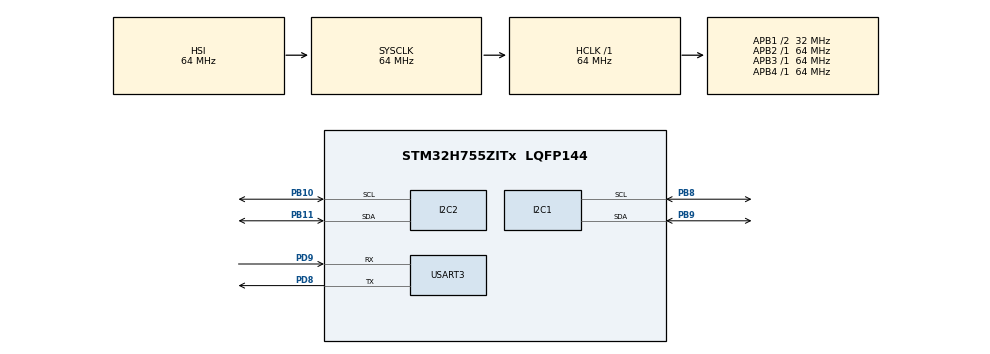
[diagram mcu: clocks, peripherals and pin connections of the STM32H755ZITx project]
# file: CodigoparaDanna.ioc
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CORTEX_M7.default_mode_Activation=1
CortexM4.IPs=CORTEX_M4\:I,FATFS_M4\:I,FREERTOS_M4\:I,IWDG2\:I,OPENAMP_M4\:I,PDM2PCM_M4\:I,PWR,RCC,RESMGR_UTILITY,SYS_M4\:I,USB_DEVICE_M4\:I,USB_HOST_M4\:I,VREFBUF,WWDG2\:I,GPIO,DMA,BDMA,MDMA,NVIC2\:I
CortexM7.IPs=CORTEX_M7\:I,FATFS_M7\:I,FREERTOS_M7\:I,IWDG1\:I,OPENAMP_M7\:I,PDM2PCM_M7\:I,PWR\:I,RCC\:I,RESMGR_UTILITY\:I,SYS\:I,USB_DEVICE_M7\:I,USB_HOST_M7\:I,VREFBUF\:I,WWDG1\:I,GPIO\:I,DMA\:I,BDMA\:I,MDMA\:I,NVIC1\:I,I2C2\:I,USART3\:I,I2C1\:I
I2C1.Timing=0x00707CBB
I2C2.Timing=0x00707CBB
Mcu.Family=STM32H7
Mcu.Name=STM32H755ZITx
Mcu.Package=LQFP144
NVIC1.PriorityGroup=NVIC_PRIORITYGROUP_4
NVIC2.PriorityGroup=NVIC_PRIORITYGROUP_4
PB10.Mode=I2C
PB10.PinAttribute=CortexM7
PB10.Signal=I2C2_SCL
PB11.Mode=I2C
PB11.PinAttribute=CortexM7
PB11.Signal=I2C2_SDA
PB8.Mode=I2C
PB8.PinAttribute=CortexM7
PB8.Signal=I2C1_SCL
PB9.Mode=I2C
PB9.PinAttribute=CortexM7
PB9.Signal=I2C1_SDA
PD8.Mode=Asynchronous
PD8.PinAttribute=CortexM7
PD8.Signal=USART3_TX
PD9.Mode=Asynchronous
PD9.PinAttribute=CortexM7
PD9.Signal=USART3_RX
ProjectManager.HeapSize=M4-0x200,M7-0x200
ProjectManager.StackSize=M4-0x400,M7-0x400
ProjectManager.TargetToolchain=STM32CubeIDE
RCC.ADCFreq_Value=129000000
RCC.APB1Freq_Value=32000000
RCC.APB2Freq_Value=64000000
RCC.APB3Freq_Value=64000000
RCC.APB4Freq_Value=64000000
RCC.CortexFreq_Value=64000000
RCC.D2PPRE1=RCC_APB1_DIV2
RCC.HCLKFreq_Value=64000000
RCC.SYSCLKFreq_VALUE=64000000
RCC.USBFreq_Value=129000000
SYS.userName=SYS_M7
USART3.VirtualMode-Asynchronous=VM_ASYNC
VP_SYS_M4_VS_Systick.Mode=SysTick
board=custom

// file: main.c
/* USER CODE BEGIN Header */
/**
  ******************************************************************************
  * @file           : main.c
  * @brief          : Main program body
  ******************************************************************************
  * @attention
  *
  * Copyright (c) 2026 STMicroelectronics.
  * All rights reserved.
  *
  * This software is licensed under terms that can be found in the LICENSE file
  * in the root directory of this software component.
  * If no LICENSE file comes with this software, it is provided AS-IS.
  *
  ******************************************************************************
  */
/* USER CODE END Header */
#include "main.h"

/* USER CODE BEGIN Includes */
#include <stdio.h>
#include <string.h>
/* USER CODE END Includes */

/* USER CODE BEGIN PD */

/* DUAL_CORE_BOOT_SYNC_SEQUENCE: Define for dual core boot synchronization    */
/*                             demonstration code based on hardware semaphore */
/* This define is present in both CM7/CM4 projects                            */
/* To comment when developping/debugging on a single core                     */
#define DUAL_CORE_BOOT_SYNC_SEQUENCE

#if defined(DUAL_CORE_BOOT_SYNC_SEQUENCE)
#ifndef HSEM_ID_0
#define HSEM_ID_0 (0U) /* HW semaphore 0*/
#endif
#endif /* DUAL_CORE_BOOT_SYNC_SEQUENCE */
#define MAX30102_ADDR      (0x57 << 1)   // 0xAE: HAL pide dirección de 8 bits
#define REG_INT_STATUS_1   0x00
#define REG_FIFO_WR_PTR    0x04
#define REG_OVF_COUNTER    0x05
#define REG_FIFO_RD_PTR    0x06
#define REG_FIFO_DATA      0x07
#define REG_FIFO_CONFIG    0x08
#define REG_MODE_CONFIG    0x09
#define REG_SPO2_CONFIG    0x0A
#define REG_LED1_PA        0x0C   // LED rojo
#define REG_LED2_PA        0x0D   // LED infrarrojo
#define REG_PART_ID        0xFF
#define FS_HZ              25     // 100 muestras/s / promedio de 4
#define FINGER_THR         70000  // empírico: sin dedo ~40-51k, con dedo ~110k
#define REFRACT_SMP        8      // 8 muestras = 320 ms → máximo ~187 BPM
#define N_AVG              5      // intervalos para media recortada
#define PRINT_EVERY        25     // 25 muestras = 1 s entre impresiones
#define SETTLE_SMP         (2 * FS_HZ)   // 2 s de asentamiento tras poner dedo
#define STALE_SMP          (2 * FS_HZ)   // 2 s sin latido = señal débil
#define MLX_ADDR           (0x5A << 1)   // 0xB4
#define MLX_REG_TA         0x06          // temperatura ambiente
#define MLX_REG_TOBJ1      0x07          // temperatura de objeto
#define N_SPO2             5

/* USER CODE END PD */

I2C_HandleTypeDef hi2c1;
I2C_HandleTypeDef hi2c2;

UART_HandleTypeDef huart3;

/* USER CODE BEGIN PV */
float    dc = 0, ac = 0;
float    prev1 = 0, prev2 = 0;
float    env = 0;
uint32_t sample_idx = 0, last_peak = 0;
uint32_t intervals[N_AVG];
uint8_t  int_pos = 0, int_cnt = 0;
uint32_t finger_smp = 0;
uint8_t  beat_flag = 0;                 // 1 = hr_process detectó pico
uint32_t r_min, r_max, i_min, i_max;    // extremos en ventana de latido
float    r_sum = 0, i_sum = 0;          // sumas para DC
uint32_t w_cnt = 0;                     // muestras en ventana
float    ratios[N_SPO2];
uint8_t  rat_pos = 0, rat_cnt = 0;

/* USER CODE END PV */

void SystemClock_Config(void);
static void MPU_Config(void);
static void MX_GPIO_Init(void);
static void MX_I2C2_Init(void);
static void MX_USART3_UART_Init(void);
static void MX_I2C1_Init(void);

/* USER CODE BEGIN 0 */
void uart_print(const char *msg) {
    HAL_UART_Transmit(&huart3, (uint8_t*)msg, strlen(msg), 100);
}

HAL_StatusTypeDef max_write(uint8_t reg, uint8_t val) {
    return HAL_I2C_Mem_Write(&hi2c2, MAX30102_ADDR, reg,
                             I2C_MEMADD_SIZE_8BIT, &val, 1, 100);
}

HAL_StatusTypeDef max_read(uint8_t reg, uint8_t *val) {
    return HAL_I2C_Mem_Read(&hi2c2, MAX30102_ADDR, reg,
                            I2C_MEMADD_SIZE_8BIT, val, 1, 100);
}

HAL_StatusTypeDef max_init(void) {
    uint8_t v;
    uint32_t t0;

    // 1. Reset por software y espera a que termine
    if (max_write(REG_MODE_CONFIG, 0x40) != HAL_OK) return HAL_ERROR;
    t0 = HAL_GetTick();
    do {
        if (max_read(REG_MODE_CONFIG, &v) != HAL_OK) return HAL_ERROR;
        if (HAL_GetTick() - t0 > 100) return HAL_TIMEOUT;
    } while (v & 0x40);

    // 2. Leer estado limpia bandera de encendido
    max_read(REG_INT_STATUS_1, &v);

    // 3. Vaciar FIFO
    max_write(REG_FIFO_WR_PTR, 0x00);
    max_write(REG_OVF_COUNTER, 0x00);
    max_write(REG_FIFO_RD_PTR, 0x00);

    // 4. Configuración
    max_write(REG_FIFO_CONFIG, 0x50);
    max_write(REG_SPO2_CONFIG, 0x27);
    max_write(REG_LED1_PA, 0x24);
    max_write(REG_LED2_PA, 0x24);
    max_write(REG_MODE_CONFIG, 0x03);   // al final: arranca muestreo

    return HAL_OK;
}
uint8_t max_read_fifo(uint32_t *red, uint32_t *ir, uint8_t max_n) {
    static uint8_t raw[32 * 6];     // static: no ocupa pila
    uint8_t wr, rd, n;

    if (max_read(REG_FIFO_WR_PTR, &wr) != HAL_OK) return 0;
    if (max_read(REG_FIFO_RD_PTR, &rd) != HAL_OK) return 0;

    n = (wr - rd) & 0x1F;           // muestras pendientes
    if (n == 0) return 0;
    if (n > max_n) n = max_n;

    // Lectura en ráfaga: n muestras × 6 bytes
    if (HAL_I2C_Mem_Read(&hi2c2, MAX30102_ADDR, REG_FIFO_DATA,
                         I2C_MEMADD_SIZE_8BIT, raw, n * 6, 100) != HAL_OK)
        return 0;

    for (uint8_t i = 0; i < n; i++) {
        uint8_t *s = &raw[i * 6];
        red[i] = (((uint32_t)s[0] << 16) | ((uint32_t)s[1] << 8) | s[2]) & 0x3FFFF;
        ir[i]  = (((uint32_t)s[3] << 16) | ((uint32_t)s[4] << 8) | s[5]) & 0x3FFFF;
    }
    return n;
}
float hr_process(uint32_t ir_raw) {
    float x = (float)ir_raw;

    sample_idx++;

    // 1. Sin dedo: reiniciar estado
    if (ir_raw < FINGER_THR) {
        dc = x; ac = 0; env = 0;
        prev1 = prev2 = 0;
        last_peak = 0; int_pos = 0; int_cnt = 0;
        finger_smp = 0;
        w_cnt = 0; rat_pos = 0; rat_cnt = 0; beat_flag = 0;
        return -1.0f;
    }
    finger_smp++;

    // 2. Quitar DC e invertir
    dc += (x - dc) / 16.0f;
    ac = dc - x;

    // 3. Envolvente: sube instantáneo, decae 2 % por muestra
    env *= 0.98f;
    if (ac > env) env = ac;

    // 4. ¿prev1 fue pico?
    if (prev1 > prev2 && prev1 >= ac && prev1 > 0.5f * env &&
        (sample_idx - 1 - last_peak) > REFRACT_SMP) {
        uint32_t peak = sample_idx - 1;
        if (last_peak != 0 && finger_smp > SETTLE_SMP) {
            intervals[int_pos] = peak - last_peak;
            int_pos = (int_pos + 1) % N_AVG;
            if (int_cnt < N_AVG) int_cnt++;
        }
        beat_flag = 1;
        last_peak = peak;
    }
    prev2 = prev1;
    prev1 = ac;

    // 5. BPM con Media recortada
    if (int_cnt < N_AVG) return 0.0f;
    if (sample_idx - last_peak > STALE_SMP) return -2.0f;   // sin latidos recientes

    uint32_t s[N_AVG];
    memcpy(s, intervals, sizeof(s));
    for (uint8_t i = 1; i < N_AVG; i++) {
        uint32_t k = s[i];
        int8_t j = i - 1;
        while (j >= 0 && s[j] > k) { s[j + 1] = s[j]; j--; }
        s[j + 1] = k;
    }
    float mid = (float)(s[1] + s[2] + s[3]) / 3.0f;          // descarta s[0] y s[4]
    return 60.0f * FS_HZ / mid;
}

float spo2_update(uint32_t red, uint32_t ir) {
    // 1. Acumular muestra en ventana actual
    if (w_cnt == 0) {
        r_min = r_max = red;  i_min = i_max = ir;
        r_sum = i_sum = 0;
    }
    if (red < r_min) r_min = red;
    if (red > r_max) r_max = red;
    if (ir  < i_min) i_min = ir;
    if (ir  > i_max) i_max = ir;
    r_sum += red;  i_sum += ir;  w_cnt++;

    // 2. Latido nuevo: cerrar ventana y calcular R
    if (beat_flag) {
        beat_flag = 0;
        if (finger_smp > SETTLE_SMP &&
            w_cnt >= REFRACT_SMP && w_cnt <= STALE_SMP) {   // 30–187 BPM
            float r_ac = (float)(r_max - r_min);
            float i_ac = (float)(i_max - i_min);
            float r_dc = r_sum / w_cnt;
            float i_dc = i_sum / w_cnt;
            if (i_ac > 0.0f && r_dc > 0.0f) {
                ratios[rat_pos] = (r_ac / r_dc) / (i_ac / i_dc);
                rat_pos = (rat_pos + 1) % N_SPO2;
                if (rat_cnt < N_SPO2) rat_cnt++;
            }
        }
        w_cnt = 0;
    }

    // 3. Mediana de R
    if (rat_cnt < N_SPO2) return 0.0f;                     // midiendo
    float s[N_SPO2];
    memcpy(s, ratios, sizeof(s));
    for (uint8_t i = 1; i < N_SPO2; i++) {
        float k = s[i];
        int8_t j = i - 1;
        while (j >= 0 && s[j] > k) { s[j + 1] = s[j]; j--; }
        s[j + 1] = k;
    }
    float R = s[N_SPO2 / 2];

    // 4. R → SpO2
    if (R < 0.3f || R > 1.3f) return -1.0f;               // fuera de rango creíble
    float spo2 = 1.5958f * R * R - 34.6597f * R + 112.6899f;
    if (spo2 > 100.0f) spo2 = 100.0f;
    return spo2;
}

HAL_StatusTypeDef mlx_read_temp(uint8_t reg, float *t_c) {
    uint8_t d[3];                                   // LSB, MSB, PEC
    if (HAL_I2C_Mem_Read(&hi2c1, MLX_ADDR, reg,
                         I2C_MEMADD_SIZE_8BIT, d, 3, 10) != HAL_OK)
        return HAL_ERROR;

    uint16_t raw = (uint16_t)d[0] | ((uint16_t)d[1] << 8);
    if (raw & 0x8000) return HAL_ERROR;             // bit 15 = bandera de error

    *t_c = raw * 0.02f - 273.15f;                   // kelvin×50 → °C
    return HAL_OK;
}
/* USER CODE END 0 */

int main(void)
{

/* USER CODE BEGIN Boot_Mode_Sequence_0 */
#if defined(DUAL_CORE_BOOT_SYNC_SEQUENCE)
  int32_t timeout;
#endif /* DUAL_CORE_BOOT_SYNC_SEQUENCE */
/* USER CODE END Boot_Mode_Sequence_0 */

  /* MPU Configuration--------------------------------------------------------*/
  MPU_Config();

/* USER CODE BEGIN Boot_Mode_Sequence_1 */
#if defined(DUAL_CORE_BOOT_SYNC_SEQUENCE)
  /* Wait until CPU2 boots and enters in stop mode or timeout*/
  timeout = 0xFFFF;
  while((__HAL_RCC_GET_FLAG(RCC_FLAG_D2CKRDY) != RESET) && (timeout-- > 0));
  if ( timeout < 0 )
  {
  Error_Handler();
  }
#endif /* DUAL_CORE_BOOT_SYNC_SEQUENCE */
/* USER CODE END Boot_Mode_Sequence_1 */
  /* MCU Configuration--------------------------------------------------------*/

  /* Reset of all peripherals, Initializes the Flash interface and the Systick. */
  HAL_Init();

  /* Configure the system clock */
  SystemClock_Config();
/* USER CODE BEGIN Boot_Mode_Sequence_2 */
#if defined(DUAL_CORE_BOOT_SYNC_SEQUENCE)
/* When system initialization is finished, Cortex-M7 will release Cortex-M4 by means of
HSEM notification */
/*HW semaphore Clock enable*/
__HAL_RCC_HSEM_CLK_ENABLE();
/*Take HSEM */
HAL_HSEM_FastTake(HSEM_ID_0);
/*Release HSEM in order to notify the CPU2(CM4)*/
HAL_HSEM_Release(HSEM_ID_0,0);
/* wait until CPU2 wakes up from stop mode */
timeout = 0xFFFF;
while((__HAL_RCC_GET_FLAG(RCC_FLAG_D2CKRDY) == RESET) && (timeout-- > 0));
if ( timeout < 0 )
{
Error_Handler();
}
#endif /* DUAL_CORE_BOOT_SYNC_SEQUENCE */
/* USER CODE END Boot_Mode_Sequence_2 */

  /* Initialize all configured peripherals */
  MX_GPIO_Init();
  MX_I2C2_Init();
  MX_USART3_UART_Init();
  MX_I2C1_Init();
  /* USER CODE BEGIN 2 */
  // Seccion MAX30102
  char buf[64];
  uint8_t v, p1, p2;

  if (max_init() != HAL_OK) {
      uart_print("Error en max_init\r\n");
  } else {
      max_read(REG_MODE_CONFIG, &v);
      snprintf(buf, sizeof(buf), "MODE = 0x%02X (esperado 0x03)\r\n", v);
      uart_print(buf);

      max_read(REG_SPO2_CONFIG, &v);
      snprintf(buf, sizeof(buf), "SPO2 = 0x%02X (esperado 0x27)\r\n", v);
      uart_print(buf);

      max_read(REG_FIFO_CONFIG, &v);
      snprintf(buf, sizeof(buf), "FIFO = 0x%02X (esperado 0x50)\r\n", v);
      uart_print(buf);

      max_read(REG_FIFO_WR_PTR, &p1);
      HAL_Delay(200);
      max_read(REG_FIFO_WR_PTR, &p2);
      snprintf(buf, sizeof(buf), "WR_PTR: %u -> %u\r\n", p1, p2);
      uart_print(buf);
  }
  // Seccion GY-906
  uint32_t red[32], ir[32];
  uint8_t n;
  uint32_t t_max = HAL_GetTick();     // última lectura de MAX
  uint32_t t_mlx = HAL_GetTick();     // última lectura de MLX
  uint32_t t_fs  = HAL_GetTick();     // inicio de ventana de fs
  uint32_t n_fs  = 0;                 // muestras en ventana
  uint8_t  mlx_ok = 0;                // 1 = última lectura MLX válida
  char     est[32];                   // texto de estado del pulso
  float ta, to;
  snprintf(buf, sizeof(buf), "I2C1 reposo: SCL=%d SDA=%d (esperado 1 1)\r\n",
           HAL_GPIO_ReadPin(GPIOB, GPIO_PIN_8),
           HAL_GPIO_ReadPin(GPIOB, GPIO_PIN_9));
  uart_print(buf);
  if (HAL_I2C_IsDeviceReady(&hi2c1, MLX_ADDR, 3, 10) != HAL_OK) {
      uart_print("MLX90614 no encontrado en I2C1\r\n");
  } else if (mlx_read_temp(MLX_REG_TA, &ta) == HAL_OK &&
             mlx_read_temp(MLX_REG_TOBJ1, &to) == HAL_OK) {
      snprintf(buf, sizeof(buf), "Ta = %d.%02d C  Tobj = %d.%02d C\r\n",
               (int)ta, (int)(ta * 100) % 100,
               (int)to, (int)(to * 100) % 100);
      uart_print(buf);
  } else {
      uart_print("MLX90614: error de lectura\r\n");
  }
  /* USER CODE END 2 */

  /* Infinite loop */
  while (1)
  {

	    /* USER CODE BEGIN 3 */
	    uint32_t now = HAL_GetTick();

	    // ---- Tarea 1: pulso cada 20 ms ----
	    if (now - t_max >= 20) {
	        t_max = now;
	        n = max_read_fifo(red, ir, 32);
	        n_fs += n;
	        for (uint8_t i = 0; i < n; i++) {
	            float bpm = hr_process(ir[i]);
	            float spo2 = spo2_update(red[i], ir[i]);
	            if ((sample_idx % PRINT_EVERY) != 0) continue;

	            if (bpm == -2.0f)   snprintf(est, sizeof(est), "Senal debil");
	            else if (bpm < 0)   snprintf(est, sizeof(est), "Sin dedo");
	            else if (bpm == 0)  snprintf(est, sizeof(est), "Midiendo...");
	            else if (spo2 > 0)  snprintf(est, sizeof(est), "BPM:%d SpO2:%d PI:%d",
	                                         (int)(bpm + 0.5f), (int)(spo2 + 0.5f),
	                                         (int)(10000.0f * env / dc));
	            else                snprintf(est, sizeof(est), "BPM:%d SpO2:-- PI:%d",
	                                         (int)(bpm + 0.5f), (int)(10000.0f * env / dc));
	            if (mlx_ok)
	                snprintf(buf, sizeof(buf), "%s | Ta:%d.%02d Tobj:%d.%02d C\r\n", est,
	                         (int)ta, (int)(ta * 100) % 100,
	                         (int)to, (int)(to * 100) % 100);
	            else
	                snprintf(buf, sizeof(buf), "%s | MLX: error\r\n", est);
	            uart_print(buf);
	        }
	    }

	    // ---- Tarea 2: temperatura cada 500 ms ----
	    if (now - t_mlx >= 500) {
	        t_mlx = now;
	        mlx_ok = (mlx_read_temp(MLX_REG_TA, &ta)    == HAL_OK &&
	                  mlx_read_temp(MLX_REG_TOBJ1, &to) == HAL_OK);
	    }

	    // ---- Tarea 3: frecuencia de muestreo real cada 10 s ----
	    if (now - t_fs >= 10000) {
	        uint32_t fs100 = n_fs * 100000UL / (now - t_fs);   // Hz × 100
	        snprintf(buf, sizeof(buf), "fs medida: %lu.%02lu Hz\r\n",
	                 fs100 / 100, fs100 % 100);
	        uart_print(buf);
	        n_fs = 0;
	        t_fs = now;
	    }
	  }                                     // ← cierra while, no borrar
	  /* USER CODE END 3 */
}

void SystemClock_Config(void)
{
  RCC_OscInitTypeDef RCC_OscInitStruct = {0};
  RCC_ClkInitTypeDef RCC_ClkInitStruct = {0};

  /** Supply configuration update enable
  */
  HAL_PWREx_ConfigSupply(PWR_DIRECT_SMPS_SUPPLY);

  /** Configure the main internal regulator output voltage
  */
  __HAL_PWR_VOLTAGESCALING_CONFIG(PWR_REGULATOR_VOLTAGE_SCALE3);

  while(!__HAL_PWR_GET_FLAG(PWR_FLAG_VOSRDY)) {}

  /** Initializes the RCC Oscillators according to the specified parameters
  * in the RCC_OscInitTypeDef structure.
  */
  RCC_OscInitStruct.OscillatorType = RCC_OSCILLATORTYPE_HSI;
  RCC_OscInitStruct.HSIState = RCC_HSI_DIV1;
  RCC_OscInitStruct.HSICalibrationValue = RCC_HSICALIBRATION_DEFAULT;
  RCC_OscInitStruct.PLL.PLLState = RCC_PLL_NONE;
  if (HAL_RCC_OscConfig(&RCC_OscInitStruct) != HAL_OK)
  {
    Error_Handler();
  }

  /** Initializes the CPU, AHB and APB buses clocks
  */
  RCC_ClkInitStruct.ClockType = RCC_CLOCKTYPE_HCLK|RCC_CLOCKTYPE_SYSCLK
                              |RCC_CLOCKTYPE_PCLK1|RCC_CLOCKTYPE_PCLK2
                              |RCC_CLOCKTYPE_D3PCLK1|RCC_CLOCKTYPE_D1PCLK1;
  RCC_ClkInitStruct.SYSCLKSource = RCC_SYSCLKSOURCE_HSI;
  RCC_ClkInitStruct.SYSCLKDivider = RCC_SYSCLK_DIV1;
  RCC_ClkInitStruct.AHBCLKDivider = RCC_HCLK_DIV1;
  RCC_ClkInitStruct.APB3CLKDivider = RCC_APB3_DIV1;
  RCC_ClkInitStruct.APB1CLKDivider = RCC_APB1_DIV2;
  RCC_ClkInitStruct.APB2CLKDivider = RCC_APB2_DIV1;
  RCC_ClkInitStruct.APB4CLKDivider = RCC_APB4_DIV1;

  if (HAL_RCC_ClockConfig(&RCC_ClkInitStruct, FLASH_LATENCY_1) != HAL_OK)
  {
    Error_Handler();
  }
}

static void MX_I2C1_Init(void)
{

  hi2c1.Instance = I2C1;
  hi2c1.Init.Timing = 0x00707CBB;
  hi2c1.Init.OwnAddress1 = 0;
  hi2c1.Init.AddressingMode = I2C_ADDRESSINGMODE_7BIT;
  hi2c1.Init.DualAddressMode = I2C_DUALADDRESS_DISABLE;
  hi2c1.Init.OwnAddress2 = 0;
  hi2c1.Init.OwnAddress2Masks = I2C_OA2_NOMASK;
  hi2c1.Init.GeneralCallMode = I2C_GENERALCALL_DISABLE;
  hi2c1.Init.NoStretchMode = I2C_NOSTRETCH_DISABLE;
  if (HAL_I2C_Init(&hi2c1) != HAL_OK)
  {
    Error_Handler();
  }

  /** Configure Analogue filter
  */
  if (HAL_I2CEx_ConfigAnalogFilter(&hi2c1, I2C_ANALOGFILTER_ENABLE) != HAL_OK)
  {
    Error_Handler();
  }

  /** Configure Digital filter
  */
  if (HAL_I2CEx_ConfigDigitalFilter(&hi2c1, 0) != HAL_OK)
  {
    Error_Handler();
  }

}

static void MX_I2C2_Init(void)
{

  hi2c2.Instance = I2C2;
  hi2c2.Init.Timing = 0x00707CBB;
  hi2c2.Init.OwnAddress1 = 0;
  hi2c2.Init.AddressingMode = I2C_ADDRESSINGMODE_7BIT;
  hi2c2.Init.DualAddressMode = I2C_DUALADDRESS_DISABLE;
  hi2c2.Init.OwnAddress2 = 0;
  hi2c2.Init.OwnAddress2Masks = I2C_OA2_NOMASK;
  hi2c2.Init.GeneralCallMode = I2C_GENERALCALL_DISABLE;
  hi2c2.Init.NoStretchMode = I2C_NOSTRETCH_DISABLE;
  if (HAL_I2C_Init(&hi2c2) != HAL_OK)
  {
    Error_Handler();
  }

  /** Configure Analogue filter
  */
  if (HAL_I2CEx_ConfigAnalogFilter(&hi2c2, I2C_ANALOGFILTER_ENABLE) != HAL_OK)
  {
    Error_Handler();
  }

  /** Configure Digital filter
  */
  if (HAL_I2CEx_ConfigDigitalFilter(&hi2c2, 0) != HAL_OK)
  {
    Error_Handler();
  }

}

static void MX_USART3_UART_Init(void)
{

  huart3.Instance = USART3;
  huart3.Init.BaudRate = 115200;
  huart3.Init.WordLength = UART_WORDLENGTH_8B;
  huart3.Init.StopBits = UART_STOPBITS_1;
  huart3.Init.Parity = UART_PARITY_NONE;
  huart3.Init.Mode = UART_MODE_TX_RX;
  huart3.Init.HwFlowCtl = UART_HWCONTROL_NONE;
  huart3.Init.OverSampling = UART_OVERSAMPLING_16;
  huart3.Init.OneBitSampling = UART_ONE_BIT_SAMPLE_DISABLE;
  huart3.Init.ClockPrescaler = UART_PRESCALER_DIV1;
  huart3.AdvancedInit.AdvFeatureInit = UART_ADVFEATURE_NO_INIT;
  if (HAL_UART_Init(&huart3) != HAL_OK)
  {
    Error_Handler();
  }
  if (HAL_UARTEx_SetTxFifoThreshold(&huart3, UART_TXFIFO_THRESHOLD_1_8) != HAL_OK)
  {
    Error_Handler();
  }
  if (HAL_UARTEx_SetRxFifoThreshold(&huart3, UART_RXFIFO_THRESHOLD_1_8) != HAL_OK)
  {
    Error_Handler();
  }
  if (HAL_UARTEx_DisableFifoMode(&huart3) != HAL_OK)
  {
    Error_Handler();
  }

}

static void MX_GPIO_Init(void)
{

  /* GPIO Ports Clock Enable */
  __HAL_RCC_GPIOB_CLK_ENABLE();
  __HAL_RCC_GPIOD_CLK_ENABLE();

}

 /* MPU Configuration */

void MPU_Config(void)
{
  MPU_Region_InitTypeDef MPU_InitStruct = {0};

  /* Disables the MPU */
  HAL_MPU_Disable();

  /** Initializes and configures the Region and the memory to be protected
  */
  MPU_InitStruct.Enable = MPU_REGION_ENABLE;
  MPU_InitStruct.Number = MPU_REGION_NUMBER0;
  MPU_InitStruct.BaseAddress = 0x0;
  MPU_InitStruct.Size = MPU_REGION_SIZE_4GB;
  MPU_InitStruct.SubRegionDisable = 0x87;
  MPU_InitStruct.TypeExtField = MPU_TEX_LEVEL0;
  MPU_InitStruct.AccessPermission = MPU_REGION_NO_ACCESS;
  MPU_InitStruct.DisableExec = MPU_INSTRUCTION_ACCESS_DISABLE;
  MPU_InitStruct.IsShareable = MPU_ACCESS_SHAREABLE;
  MPU_InitStruct.IsCacheable = MPU_ACCESS_NOT_CACHEABLE;
  MPU_InitStruct.IsBufferable = MPU_ACCESS_NOT_BUFFERABLE;

  HAL_MPU_ConfigRegion(&MPU_InitStruct);
  /* Enables the MPU */
  HAL_MPU_Enable(MPU_PRIVILEGED_DEFAULT);

}

void Error_Handler(void)
{
  __disable_irq();
  while (1)
  {
  }
}
